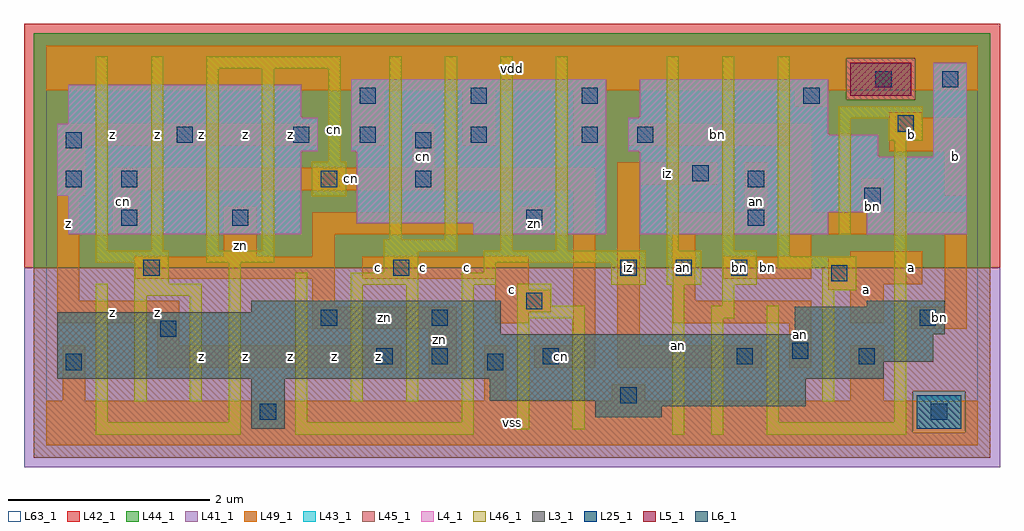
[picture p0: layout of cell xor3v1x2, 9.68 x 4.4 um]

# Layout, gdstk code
import gdstk
lib = gdstk.Library(unit=1e-6, precision=1e-09)
def R(c, l, rs):  # rectangles x0, y0, x1, y1
    for r in rs: c.add(gdstk.rectangle(r[:2], r[2:], *l))
def A(c, l, x, y, w, h, nx, ny, dx, dy):  # array of equal rectangles
    R(c, l, [(x+i*dx, y+j*dy, x+i*dx+w, y+j*dy+h) for i in range(nx) for j in range(ny)])
L3_1 = (3, 1)
L4_1 = (4, 1)
L5_1 = (5, 1)
L6_1 = (6, 1)
L25_1 = (25, 1)
L41_1 = (41, 1)
L42_1 = (42, 1)
L43_1 = (43, 1)
L44_1 = (44, 1)
L45_1 = (45, 1)
L46_1 = (46, 1)
L49_1 = (49, 1)
L63_1 = (63, 1)

xor3v1x2 = lib.new_cell('xor3v1x2')
R(xor3v1x2, L3_1, [(2.035,0.165,2.365,0.66), (5.445,0.275,6.105,0.385), (5.445,0.385,7.535,0.44), (4.4,0.44,7.535,0.66), (0.11,0.66,8.305,0.825), (0.11,0.825,8.8,1.1), (0.11,1.1,4.51,1.32), (7.425,1.1,8.91,1.375), (2.035,1.32,4.51,1.43), (8.14,1.375,8.91,1.43)])
R(xor3v1x2, L4_1, [(0.22,2.09,2.53,2.475), (4.235,2.09,5.555,2.2), (5.885,2.09,7.755,2.31), (8.14,2.09,9.13,2.31), (3.08,2.2,5.555,2.915), (5.885,2.31,9.13,2.86), (0.11,2.475,2.53,2.915), (5.885,2.86,8.25,2.915), (8.8,2.86,9.13,3.795), (0.11,2.915,2.695,3.19), (3.025,2.915,5.555,3.63), (5.775,2.915,8.25,3.08), (5.775,3.08,7.755,3.245), (0.22,3.19,2.695,3.245), (0.22,3.245,2.53,3.575), (5.885,3.245,7.755,3.63)])
R(xor3v1x2, L5_1, [(7.975,3.465,8.58,3.795)])
R(xor3v1x2, L6_1, [(8.635,0.165,9.075,0.495)])
A(xor3v1x2, L25_1, 5.695, 1.68, 0.16, 0.16, 3, 1, 0.55, 0)
A(xor3v1x2, L25_1, 3.11, 3, 0.16, 0.16, 3, 2, 1.1, 0.385)
R(xor3v1x2, L25_1, [(2.12,0.25,2.28,0.41), (8.775,0.25,8.935,0.41), (5.695,0.415,5.855,0.575), (0.195,0.745,0.355,0.905), (4.375,0.745,4.535,0.905), (3.275,0.8,3.435,0.96), (3.825,0.8,3.985,0.96), (4.925,0.8,5.085,0.96), (6.85,0.8,7.01,0.96), (8.06,0.8,8.22,0.96), (7.4,0.855,7.56,1.015), (1.13,1.075,1.29,1.235), (2.725,1.185,2.885,1.345), (3.825,1.185,3.985,1.345), (8.665,1.185,8.825,1.345), (4.76,1.35,4.92,1.51), (7.785,1.625,7.945,1.785), (0.965,1.68,1.125,1.84), (3.44,1.68,3.6,1.84), (0.745,2.175,0.905,2.335), (1.845,2.175,2.005,2.335), (4.76,2.175,4.92,2.335), (6.96,2.175,7.12,2.335), (8.115,2.395,8.275,2.555), (0.195,2.56,0.355,2.72), (0.745,2.56,0.905,2.72), (2.725,2.56,2.885,2.72), (3.66,2.56,3.82,2.72), (6.96,2.56,7.12,2.72), (6.41,2.615,6.57,2.775), (0.195,2.945,0.355,3.105), (3.66,2.945,3.82,3.105), (1.295,3,1.455,3.16), (2.45,3,2.61,3.16), (5.86,3,6.02,3.16), (8.445,3.11,8.605,3.27), (7.51,3.385,7.67,3.545), (8.225,3.55,8.385,3.71), (8.885,3.55,9.045,3.71)])
R(xor3v1x2, L41_1, [(-0.22,-0.22,9.46,1.76)])
R(xor3v1x2, L42_1, [(-0.22,1.76,9.46,4.18)])
R(xor3v1x2, L43_1, [(2.035,0.165,2.365,0.66), (8.635,0.165,9.075,0.495), (5.445,0.275,6.105,0.385), (5.445,0.385,7.535,0.44), (4.4,0.44,7.535,0.66), (0.11,0.66,8.305,0.825), (0.11,0.825,8.8,1.1), (0.11,1.1,4.51,1.32), (7.425,1.1,8.91,1.375), (2.035,1.32,4.51,1.43), (8.14,1.375,8.91,1.43), (0.22,2.09,2.53,2.475), (4.235,2.09,5.555,2.2), (5.885,2.09,7.755,2.31), (8.14,2.09,9.13,2.31), (3.08,2.2,5.555,2.915), (5.885,2.31,9.13,2.86), (0.11,2.475,2.53,2.915), (5.885,2.86,8.25,2.915), (8.8,2.86,9.13,3.795), (0.11,2.915,2.695,3.19), (3.025,2.915,5.555,3.63), (5.775,2.915,8.25,3.08), (5.775,3.08,7.755,3.245), (0.22,3.19,2.695,3.245), (0.22,3.245,2.53,3.575), (5.885,3.245,7.755,3.63), (7.975,3.465,8.58,3.795)])
R(xor3v1x2, L44_1, [(8.595,0.125,9.115,0.535), (-0.125,1.76,9.365,3.425), (-0.125,3.425,7.935,3.835), (8.62,3.425,9.365,3.835), (-0.125,3.835,9.365,4.085)])
R(xor3v1x2, L45_1, [(-0.125,-0.125,9.365,0.125), (-0.125,0.125,8.595,0.535), (9.115,0.125,9.365,0.535), (-0.125,0.535,9.365,1.76), (7.935,3.425,8.62,3.835)])
R(xor3v1x2, L46_1, [(0.49,0.105,1.93,0.225), (2.47,0.105,4.24,0.225), (6.21,0.105,6.33,1.59), (6.595,0.105,6.715,1.26), (7.145,0.105,8.53,0.225), (4.67,0.16,4.79,1.26), (5.22,0.16,5.34,1.26), (0.49,0.225,0.61,1.6), (1.81,0.225,1.93,1.81), (2.47,0.225,2.59,1.71), (4.12,0.225,4.24,1.59), (7.145,0.225,7.265,1.38), (8.41,0.225,8.53,3.02), (0.875,0.435,0.995,1.48), (1.425,0.435,1.545,1.48), (3.02,0.435,3.14,1.59), (3.57,0.435,3.69,1.59), (7.695,0.435,7.815,1.535), (4.67,1.26,5.34,1.38), (6.595,1.26,6.825,1.38), (4.67,1.38,5.01,1.6), (6.705,1.38,6.825,1.59), (0.875,1.48,1.545,1.6), (7.695,1.535,8.035,1.755), (3.02,1.59,3.69,1.71), (4.12,1.59,4.46,1.71), (5.605,1.59,5.945,1.81), (6.155,1.59,6.495,1.93), (6.705,1.59,7.045,1.93), (0.875,1.6,1.215,1.81), (3.35,1.71,3.69,1.92), (4.34,1.71,4.46,1.81), (7.255,1.755,8.035,1.875), (0.49,1.81,1.215,1.93), (1.59,1.81,2.26,1.93), (4.34,1.81,5.945,1.93), (7.255,1.875,7.375,3.855), (3.35,1.92,4.075,2.04), (0.49,1.93,0.61,3.855), (1.04,1.93,1.16,3.855), (1.59,1.93,1.71,3.735), (2.14,1.93,2.26,3.735), (4.505,1.93,4.625,3.855), (5.055,1.93,5.175,3.855), (6.155,1.93,6.275,3.855), (6.705,1.93,6.825,3.855), (3.405,2.04,3.525,3.855), (3.955,2.04,4.075,3.855), (7.86,2.085,7.98,3.24), (2.635,2.47,2.975,2.81), (2.8,2.81,2.92,3.735), (8.355,3.02,8.695,3.24), (7.86,3.24,8.695,3.36), (1.59,3.735,2.92,3.855)])
A(xor3v1x2, L49_1, 3.025, 2.97, 0.33, 0.55, 3, 1, 1.1, 0)
R(xor3v1x2, L49_1, [(0,0,9.24,0.44), (0.165,0.44,0.385,0.99), (4.345,0.44,4.565,0.99), (5.61,0.44,5.94,0.605), (7.975,0.44,8.305,0.99), (3.795,0.715,4.07,1.155), (1.1,0.77,3.52,0.99), (4.84,0.77,5.445,0.99), (5.665,0.77,7.095,0.99), (7.37,0.77,7.59,1.21), (1.1,0.99,1.32,1.21), (5.225,0.99,5.445,2.53), (5.665,0.99,5.885,2.585), (2.64,1.155,4.07,1.375), (8.58,1.155,9.13,1.375), (0.11,1.21,1.32,1.43), (4.455,1.21,4.785,1.32), (6.215,1.21,7.59,1.43), (7.975,1.21,8.305,1.54), (4.455,1.32,5.005,1.54), (2.64,1.375,2.86,1.65), (8.91,1.375,9.13,2.09), (0.11,1.43,0.33,2.475), (6.215,1.43,6.435,2.09), (4.455,1.54,4.785,1.65), (7.755,1.54,8.305,1.595), (7.755,1.595,8.69,1.87), (0.88,1.65,2.86,1.87), (3.135,1.65,4.785,1.87), (6.71,1.65,7.59,1.87), (1.76,1.87,2.09,2.365), (2.64,1.87,2.86,2.09), (7.37,1.87,7.59,2.09), (7.975,1.87,8.69,1.925), (0.66,2.09,0.935,2.53), (2.64,2.09,5.005,2.31), (6.215,2.09,7.15,2.31), (7.37,2.09,9.13,2.31), (4.675,2.31,5.005,2.365), (6.93,2.31,7.15,2.805), (7.37,2.31,7.59,2.97), (8.085,2.31,8.305,2.64), (0.11,2.475,0.385,2.97), (8.91,2.475,9.13,2.915), (0.66,2.53,5.445,2.75), (5.665,2.585,6.655,2.805), (3.63,2.75,3.85,3.19), (8.36,2.915,9.13,3.245), (0.11,2.97,2.695,3.19), (5.775,2.97,7.59,3.19), (8.36,3.245,8.69,3.3), (7.425,3.355,7.755,3.52), (0,3.52,9.24,3.96)])
R(xor3v1x2, L63_1, [(0,0,9.24,3.96)])
xor3v1x2.add(gdstk.Label('cn', (2.86,3.135), layer=46, texttype=1))
xor3v1x2.add(gdstk.Label('an', (6.27,0.99), layer=46, texttype=1))
xor3v1x2.add(gdstk.Label('iz', (5.775,1.76), layer=49, texttype=1))
xor3v1x2.add(gdstk.Label('bn', (6.875,1.76), layer=49, texttype=1))
xor3v1x2.add(gdstk.Label('z', (1.54,0.88), layer=49, texttype=1))
xor3v1x2.add(gdstk.Label('z', (1.1,1.32), layer=49, texttype=1))
xor3v1x2.add(gdstk.Label('z', (0.66,1.32), layer=49, texttype=1))
xor3v1x2.add(gdstk.Label('z', (0.22,2.2), layer=49, texttype=1))
xor3v1x2.add(gdstk.Label('cn', (0.77,2.42), layer=49, texttype=1))
xor3v1x2.add(gdstk.Label('z', (0.66,3.08), layer=49, texttype=1))
xor3v1x2.add(gdstk.Label('z', (1.1,3.08), layer=49, texttype=1))
xor3v1x2.add(gdstk.Label('z', (1.54,3.08), layer=49, texttype=1))
xor3v1x2.add(gdstk.Label('z', (1.98,0.88), layer=49, texttype=1))
xor3v1x2.add(gdstk.Label('z', (2.42,0.88), layer=49, texttype=1))
xor3v1x2.add(gdstk.Label('z', (2.86,0.88), layer=49, texttype=1))
xor3v1x2.add(gdstk.Label('z', (3.3,0.88), layer=49, texttype=1))
xor3v1x2.add(gdstk.Label('c', (3.3,1.76), layer=49, texttype=1))
xor3v1x2.add(gdstk.Label('zn', (1.925,1.98), layer=49, texttype=1))
xor3v1x2.add(gdstk.Label('z', (1.98,3.08), layer=49, texttype=1))
xor3v1x2.add(gdstk.Label('z', (2.42,3.08), layer=49, texttype=1))
xor3v1x2.add(gdstk.Label('vss', (4.62,0.22), layer=49, texttype=1))
xor3v1x2.add(gdstk.Label('zn', (3.905,1.045), layer=49, texttype=1))
xor3v1x2.add(gdstk.Label('cn', (5.115,0.88), layer=49, texttype=1))
xor3v1x2.add(gdstk.Label('zn', (3.355,1.265), layer=49, texttype=1))
xor3v1x2.add(gdstk.Label('c', (4.18,1.76), layer=49, texttype=1))
xor3v1x2.add(gdstk.Label('c', (4.62,1.54), layer=49, texttype=1))
xor3v1x2.add(gdstk.Label('c', (3.74,1.76), layer=49, texttype=1))
xor3v1x2.add(gdstk.Label('zn', (4.84,2.2), layer=49, texttype=1))
xor3v1x2.add(gdstk.Label('cn', (3.025,2.64), layer=49, texttype=1))
xor3v1x2.add(gdstk.Label('cn', (3.74,2.86), layer=49, texttype=1))
xor3v1x2.add(gdstk.Label('vdd', (4.62,3.74), layer=49, texttype=1))
xor3v1x2.add(gdstk.Label('iz', (6.38,0.88), layer=49, texttype=1))
xor3v1x2.add(gdstk.Label('an', (6.325,1.76), layer=49, texttype=1))
xor3v1x2.add(gdstk.Label('an', (7.04,2.42), layer=49, texttype=1))
xor3v1x2.add(gdstk.Label('iz', (5.775,1.76), layer=49, texttype=1))
xor3v1x2.add(gdstk.Label('iz', (6.16,2.695), layer=49, texttype=1))
xor3v1x2.add(gdstk.Label('an', (7.48,1.1), layer=49, texttype=1))
xor3v1x2.add(gdstk.Label('bn', (8.855,1.265), layer=49, texttype=1))
xor3v1x2.add(gdstk.Label('a', (8.14,1.54), layer=49, texttype=1))
xor3v1x2.add(gdstk.Label('a', (8.58,1.76), layer=49, texttype=1))
xor3v1x2.add(gdstk.Label('bn', (7.15,1.76), layer=49, texttype=1))
xor3v1x2.add(gdstk.Label('bn', (8.195,2.365), layer=49, texttype=1))
xor3v1x2.add(gdstk.Label('b', (9.02,2.86), layer=49, texttype=1))
xor3v1x2.add(gdstk.Label('b', (8.58,3.08), layer=49, texttype=1))
xor3v1x2.add(gdstk.Label('bn', (6.655,3.08), layer=49, texttype=1))

lib.write_gds('xor3v1x2.gds')
